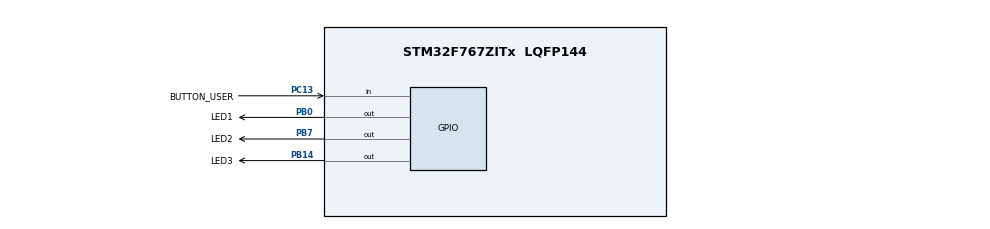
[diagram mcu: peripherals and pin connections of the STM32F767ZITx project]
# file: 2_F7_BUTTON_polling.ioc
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Mcu.Family=STM32F7
Mcu.Name=STM32F767ZITx
Mcu.Package=LQFP144
NVIC.PriorityGroup=NVIC_PRIORITYGROUP_4
PA13.Mode=Serial_Wire
PA13.Signal=SYS_JTMS-SWDIO
PA14.Mode=Serial_Wire
PA14.Signal=SYS_JTCK-SWCLK
PB0.GPIO_Label=LED1
PB0.GPIO_Speed=GPIO_SPEED_FREQ_LOW
PB0.Signal=GPIO_Output
PB14.GPIO_Label=LED3
PB14.GPIO_Speed=GPIO_SPEED_FREQ_LOW
PB14.Signal=GPIO_Output
PB7.GPIO_FM7=__NULL
PB7.GPIO_Label=LED2
PB7.GPIO_Speed=GPIO_SPEED_FREQ_LOW
PB7.Signal=GPIO_Output
PC13.GPIO_Label=BUTTON_USER
PC13.Signal=GPIO_Input
ProjectManager.HeapSize=0x200
ProjectManager.StackSize=0x400
ProjectManager.TargetToolchain=STM32CubeIDE
RCC.HSE_VALUE=25000000
RCC.HSI_VALUE=16000000
RCC.LSE_VALUE=32768
RCC.USBFreq_Value=96000000
RCC.VCOOutputFreq_Value=192000000
board=custom

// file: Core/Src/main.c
/* USER CODE BEGIN Header */
/**
  ******************************************************************************
  * @file           : main.c
  * @brief          : Main program body
  ******************************************************************************
  * @attention
  *
  * Copyright (c) 2024 STMicroelectronics.
  * All rights reserved.
  *
  * This software is licensed under terms that can be found in the LICENSE file
  * in the root directory of this software component.
  * If no LICENSE file comes with this software, it is provided AS-IS.
  *
  ******************************************************************************
  */
/* USER CODE END Header */
#include "main.h"

/* USER CODE BEGIN PTD */
typedef enum
{
	LED1 = 0,
	LED_GREEN = LED1,
	LED2 = 1,
	LED_BLUE = LED2,
	LED3 = 2,
	LED_RED = LED3,
} Led_TypeDef;

typedef enum
{
	BUTTON_USER = 0,
	BUTTON_KEY = BUTTON_USER
} Button_TypeDef;
/* USER CODE END PTD */

/* USER CODE BEGIN PD */
#define LEDn 3
#define BUTTONn 1
/* USER CODE END PD */

/* USER CODE BEGIN PV */
GPIO_TypeDef* GPIO_PORT[LEDn] = {LED1_GPIO_Port, LED2_GPIO_Port, LED3_GPIO_Port};
uint16_t GPIO_PIN[LEDn] = {LED1_Pin, LED2_Pin, LED3_Pin};

GPIO_TypeDef* BUTTON_PORT[BUTTONn] = {BUTTON_USER_GPIO_Port};
uint16_t BUTTON_PIN[BUTTONn] = {BUTTON_USER_Pin};
/* USER CODE END PV */

void SystemClock_Config(void);
static void MX_GPIO_Init(void);
/* USER CODE BEGIN PFP */
void LED_On(Led_TypeDef Led);
void LED_Off(Led_TypeDef Led);
void LED_Toggle(Led_TypeDef Led);
GPIO_PinState PB_GetState(Button_TypeDef Button);
/* USER CODE END PFP */

int main(void)
{

  /* MCU Configuration--------------------------------------------------------*/

  /* Reset of all peripherals, Initializes the Flash interface and the Systick. */
  HAL_Init();

  /* Configure the system clock */
  SystemClock_Config();

  /* Initialize all configured peripherals */
  MX_GPIO_Init();

  /* Infinite loop */
  /* USER CODE BEGIN WHILE */
  while (1)
  {
	  if(PB_GetState(BUTTON_USER)){
		  LED_On(LED1);
		  HAL_Delay(100);
		  LED_Off(LED1);
		  HAL_Delay(100);
	  }
    /* USER CODE END WHILE */

  }
}

void SystemClock_Config(void)
{
  RCC_OscInitTypeDef RCC_OscInitStruct = {0};
  RCC_ClkInitTypeDef RCC_ClkInitStruct = {0};

  /** Configure the main internal regulator output voltage
  */
  __HAL_RCC_PWR_CLK_ENABLE();
  __HAL_PWR_VOLTAGESCALING_CONFIG(PWR_REGULATOR_VOLTAGE_SCALE3);

  /** Initializes the RCC Oscillators according to the specified parameters
  * in the RCC_OscInitTypeDef structure.
  */
  RCC_OscInitStruct.OscillatorType = RCC_OSCILLATORTYPE_HSI;
  RCC_OscInitStruct.HSIState = RCC_HSI_ON;
  RCC_OscInitStruct.HSICalibrationValue = RCC_HSICALIBRATION_DEFAULT;
  RCC_OscInitStruct.PLL.PLLState = RCC_PLL_NONE;
  if (HAL_RCC_OscConfig(&RCC_OscInitStruct) != HAL_OK)
  {
    Error_Handler();
  }

  /** Initializes the CPU, AHB and APB buses clocks
  */
  RCC_ClkInitStruct.ClockType = RCC_CLOCKTYPE_HCLK|RCC_CLOCKTYPE_SYSCLK
                              |RCC_CLOCKTYPE_PCLK1|RCC_CLOCKTYPE_PCLK2;
  RCC_ClkInitStruct.SYSCLKSource = RCC_SYSCLKSOURCE_HSI;
  RCC_ClkInitStruct.AHBCLKDivider = RCC_SYSCLK_DIV1;
  RCC_ClkInitStruct.APB1CLKDivider = RCC_HCLK_DIV1;
  RCC_ClkInitStruct.APB2CLKDivider = RCC_HCLK_DIV1;

  if (HAL_RCC_ClockConfig(&RCC_ClkInitStruct, FLASH_LATENCY_0) != HAL_OK)
  {
    Error_Handler();
  }
}

static void MX_GPIO_Init(void)
{
  GPIO_InitTypeDef GPIO_InitStruct = {0};

  /* GPIO Ports Clock Enable */
  __HAL_RCC_GPIOC_CLK_ENABLE();
  __HAL_RCC_GPIOB_CLK_ENABLE();
  __HAL_RCC_GPIOA_CLK_ENABLE();

  /*Configure GPIO pin Output Level */
  HAL_GPIO_WritePin(GPIOB, LED1_Pin|LED3_Pin|LED2_Pin, GPIO_PIN_RESET);

  /*Configure GPIO pin : BUTTON_USER_Pin */
  GPIO_InitStruct.Pin = BUTTON_USER_Pin;
  GPIO_InitStruct.Mode = GPIO_MODE_INPUT;
  GPIO_InitStruct.Pull = GPIO_NOPULL;
  HAL_GPIO_Init(BUTTON_USER_GPIO_Port, &GPIO_InitStruct);

  /*Configure GPIO pins : LED1_Pin LED3_Pin LED2_Pin */
  GPIO_InitStruct.Pin = LED1_Pin|LED3_Pin|LED2_Pin;
  GPIO_InitStruct.Mode = GPIO_MODE_OUTPUT_PP;
  GPIO_InitStruct.Pull = GPIO_NOPULL;
  GPIO_InitStruct.Speed = GPIO_SPEED_FREQ_LOW;
  HAL_GPIO_Init(GPIOB, &GPIO_InitStruct);

}

/* USER CODE BEGIN 4 */
void LED_On(Led_TypeDef Led)
{
	HAL_GPIO_WritePin(GPIO_PORT[Led], GPIO_PIN[Led], GPIO_PIN_SET);
}

void LED_Off(Led_TypeDef Led)
{
	HAL_GPIO_WritePin(GPIO_PORT[Led], GPIO_PIN[Led], GPIO_PIN_RESET);
}

void LED_Toggle(Led_TypeDef Led)
{
	HAL_GPIO_TogglePin(GPIO_PORT[Led], GPIO_PIN[Led]);
}

GPIO_PinState PB_GetState(Button_TypeDef Button)
{
	return HAL_GPIO_ReadPin(BUTTON_PORT[Button], BUTTON_PIN[Button]);
}

/* USER CODE END 4 */

void Error_Handler(void)
{
  /* USER CODE BEGIN Error_Handler_Debug */
  /* User can add his own implementation to report the HAL error return state */
	LED_On(LED2);
  __disable_irq();
  while (1)
  {
  }
  /* USER CODE END Error_Handler_Debug */
}
